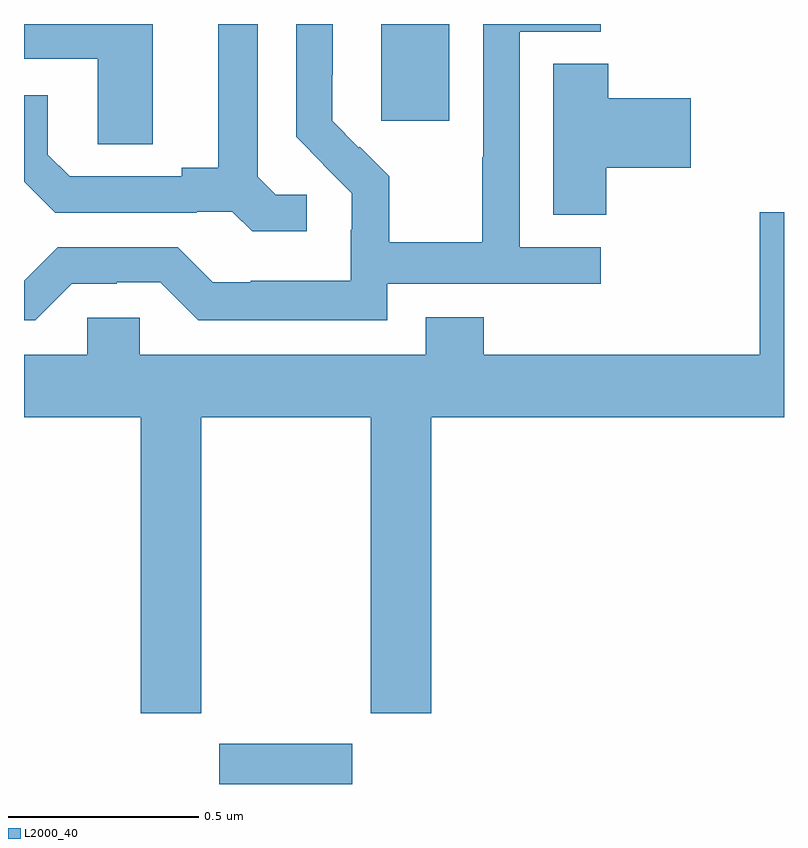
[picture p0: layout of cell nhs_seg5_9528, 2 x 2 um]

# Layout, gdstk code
import gdstk
lib = gdstk.Library(unit=1e-6, precision=1e-09)
def R(c, l, rs):  # rectangles x0, y0, x1, y1
    for r in rs: c.add(gdstk.rectangle(r[:2], r[2:], *l))
def P(c, l, *ps):  # polygons
    for p in ps: c.add(gdstk.Polygon(p, *l))
L2000_40 = (2000, 40)

nhs_seg5_9528 = lib.new_cell('nhs_seg5_9528')
R(nhs_seg5_9528, L2000_40, [(235.514,851.799,235.864,851.905), (235.94,853.545,236.119,853.799)])
P(nhs_seg5_9528, L2000_40, [(235.339,853.799),(235,853.799),(235,853.707),(235.194,853.707),(235.194,853.483),(235.339,853.483)],
  [(235.956,853.116),(236.518,853.116),(236.518,853.212),(236.304,853.212),(236.304,853.779),(236.518,853.779),(236.518,853.799),(236.208,853.799),(236.208,853.448),(236.206,853.448),(236.206,853.225),(235.961,853.225),(235.961,853.399),(235.884,853.476),(235.881,853.473),(235.811,853.544),(235.811,853.666),(235.812,853.666),(235.812,853.799),(235.716,853.799),(235.716,853.502),(235.789,853.429),(235.788,853.428),(235.862,853.354),(235.862,853.257),(235.86,853.257),(235.86,853.123),(235.597,853.123),(235.597,853.119),(235.497,853.119),(235.404,853.212),(235.089,853.212),(235,853.123),(235,853.02),(235.029,853.02),(235.125,853.116),(235.244,853.116),(235.244,853.119),(235.359,853.119),(235.459,853.019),(235.956,853.019)],
  [(235.744,853.35),(235.662,853.35),(235.615,853.397),(235.615,853.799),(235.511,853.799),(235.511,853.421),(235.415,853.421),(235.415,853.398),(235.12,853.398),(235.063,853.455),(235.063,853.612),(235,853.612),(235,853.384),(235.082,853.302),(235.454,853.302),(235.454,853.305),(235.548,853.305),(235.6,853.253),(235.744,853.253)],
  [(236.532,853.421),(236.755,853.421),(236.755,853.604),(236.537,853.604),(236.537,853.694),(236.393,853.694),(236.393,853.297),(236.532,853.297)],
  [(235.467,852.764),(235.912,852.764),(235.912,851.985),(236.072,851.985),(236.072,852.764),(237,852.764),(237,853.303),(236.936,853.303),(236.936,852.928),(236.21,852.928),(236.21,853.027),(236.057,853.027),(236.057,852.928),(235.305,852.928),(235.305,853.026),(235.167,853.026),(235.167,852.928),(235,852.928),(235,852.764),(235.307,852.764),(235.307,851.985),(235.467,851.985)])

lib.write_gds('nhs_seg5_9528.gds')
